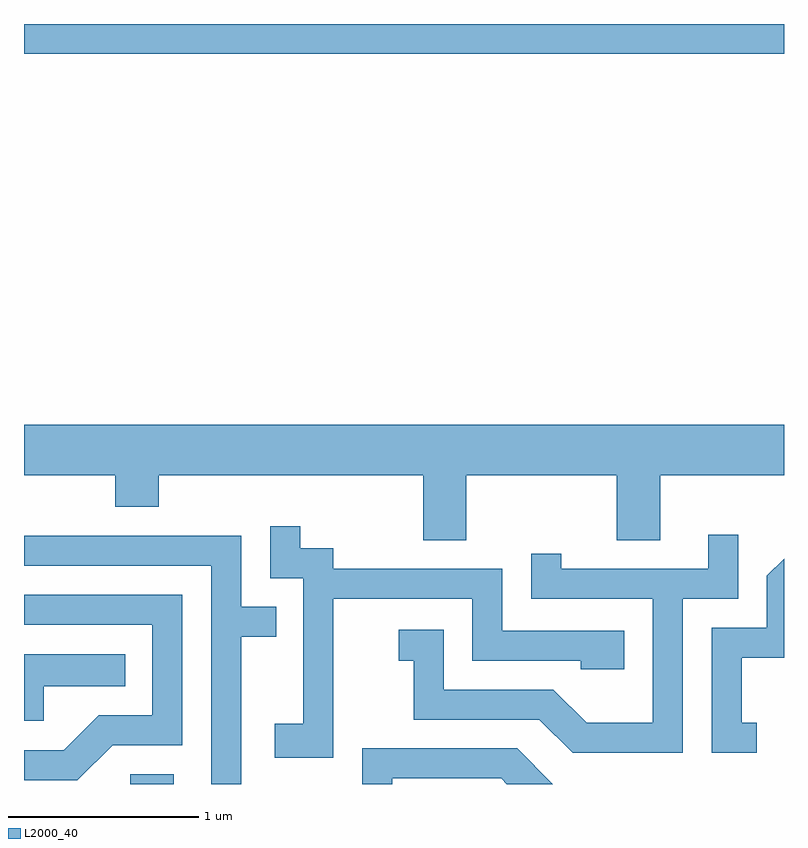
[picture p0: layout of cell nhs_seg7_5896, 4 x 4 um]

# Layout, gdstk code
import gdstk
lib = gdstk.Library(unit=1e-6, precision=1e-09)
def R(c, l, rs):  # rectangles x0, y0, x1, y1
    for r in rs: c.add(gdstk.rectangle(r[:2], r[2:], *l))
def P(c, l, *ps):  # polygons
    for p in ps: c.add(gdstk.Polygon(p, *l))
L2000_40 = (2000, 40)

nhs_seg7_5896 = lib.new_cell('nhs_seg7_5896')
R(nhs_seg7_5896, L2000_40, [(366.171,1708.252,366.399,1708.304), (365.611,1712.096,369.611,1712.252)])
P(nhs_seg7_5896, L2000_40, [(365.611,1709.876),(366.091,1709.876),(366.091,1709.711),(366.319,1709.711),(366.319,1709.876),(367.711,1709.876),(367.711,1709.536),(367.939,1709.536),(367.939,1709.876),(368.731,1709.876),(368.731,1709.536),(368.959,1709.536),(368.959,1709.876),(369.611,1709.876),(369.611,1710.144),(365.611,1710.144)],
  [(367.239,1709.226),(367.971,1709.226),(367.971,1708.901),(368.541,1708.901),(368.541,1708.856),(368.769,1708.856),(368.769,1709.059),(368.129,1709.059),(368.129,1709.384),(367.239,1709.384),(367.239,1709.494),(367.064,1709.494),(367.064,1709.608),(366.906,1709.608),(366.906,1709.336),(367.081,1709.336),(367.081,1708.569),(366.931,1708.569),(366.931,1708.391),(367.239,1708.391)],
  [(369.079,1709.226),(369.369,1709.226),(369.369,1709.563),(369.211,1709.563),(369.211,1709.384),(368.439,1709.384),(368.439,1709.463),(368.281,1709.463),(368.281,1709.226),(368.921,1709.226),(368.921,1708.574),(368.572,1708.574),(368.397,1708.749),(367.819,1708.749),(367.819,1709.064),(367.583,1709.064),(367.583,1708.901),(367.661,1708.901),(367.661,1708.591),(368.324,1708.591),(368.499,1708.416),(369.079,1708.416)],
  [(366.754,1709.026),(366.938,1709.026),(366.938,1709.184),(366.754,1709.184),(366.754,1709.559),(365.611,1709.559),(365.611,1709.401),(366.596,1709.401),(366.596,1708.252),(366.754,1708.252)],
  [(369.468,1708.574),(369.389,1708.574),(369.389,1708.916),(369.611,1708.916),(369.611,1709.437),(369.521,1709.347),(369.521,1709.074),(369.231,1709.074),(369.231,1708.416),(369.468,1708.416)],
  [(366.077,1708.456),(366.444,1708.456),(366.444,1709.249),(365.611,1709.249),(365.611,1709.091),(366.286,1709.091),(366.286,1708.614),(366.004,1708.614),(365.819,1708.429),(365.611,1708.429),(365.611,1708.271),(365.892,1708.271)],
  [(365.714,1708.766),(366.143,1708.766),(366.143,1708.934),(365.611,1708.934),(365.611,1708.586),(365.714,1708.586)],
  [(367.549,1708.281),(368.124,1708.281),(368.153,1708.252),(368.394,1708.252),(368.207,1708.439),(367.391,1708.439),(367.391,1708.252),(367.549,1708.252)])

lib.write_gds('nhs_seg7_5896.gds')
